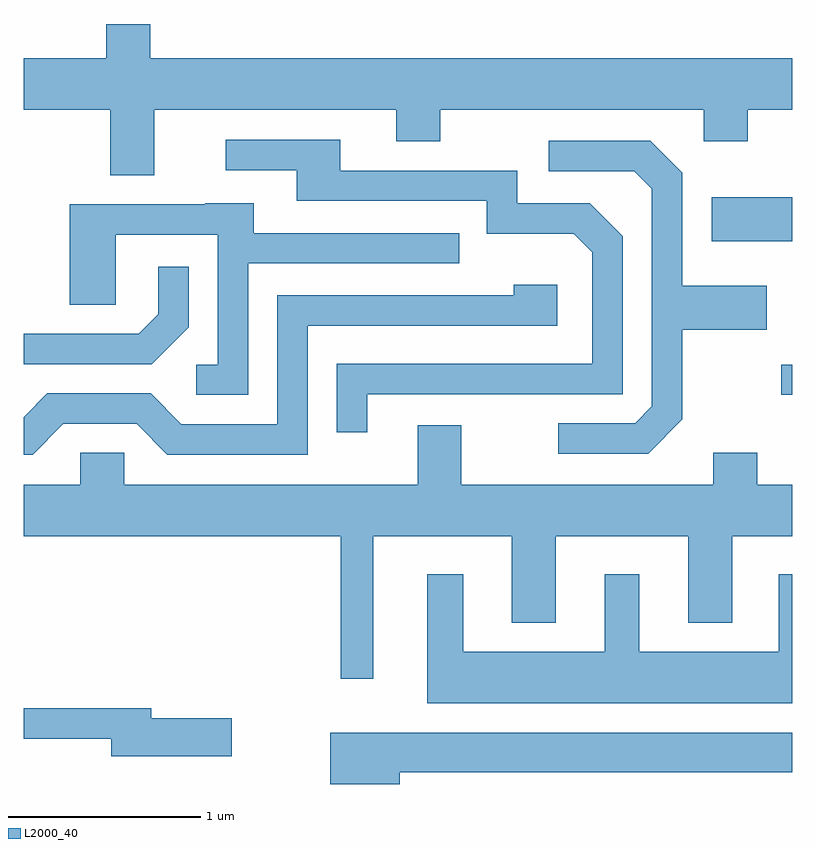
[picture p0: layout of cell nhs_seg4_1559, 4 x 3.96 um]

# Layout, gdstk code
import gdstk
lib = gdstk.Library(unit=1e-6, precision=1e-09)
def R(c, l, rs):  # rectangles x0, y0, x1, y1
    for r in rs: c.add(gdstk.rectangle(r[:2], r[2:], *l))
def P(c, l, *ps):  # polygons
    for p in ps: c.add(gdstk.Polygon(p, *l))
L2000_40 = (2000, 40)

nhs_seg4_1559 = lib.new_cell('nhs_seg4_1559')
R(nhs_seg4_1559, L2000_40, [(233.553,1382.051,233.611,1382.209), (233.191,1382.851,233.611,1383.079)])
P(nhs_seg4_1559, L2000_40, [(230.289,1383.536),(231.551,1383.536),(231.551,1383.371),(231.779,1383.371),(231.779,1383.536),(233.151,1383.536),(233.151,1383.371),(233.379,1383.371),(233.379,1383.536),(233.611,1383.536),(233.611,1383.804),(230.269,1383.804),(230.269,1383.982),(230.041,1383.982),(230.041,1383.804),(229.611,1383.804),(229.611,1383.536),(230.061,1383.536),(230.061,1383.196),(230.289,1383.196)],
  [(231.399,1382.056),(232.729,1382.056),(232.729,1382.877),(232.557,1383.049),(232.179,1383.049),(232.179,1383.219),(231.259,1383.219),(231.259,1383.379),(230.663,1383.379),(230.663,1383.221),(231.031,1383.221),(231.031,1383.061),(232.021,1383.061),(232.021,1382.891),(232.474,1382.891),(232.571,1382.794),(232.571,1382.214),(231.241,1382.214),(231.241,1381.858),(231.399,1381.858)],
  [(233.039,1381.924),(233.039,1382.391),(233.479,1382.391),(233.479,1382.619),(233.039,1382.619),(233.039,1383.207),(232.872,1383.374),(232.343,1383.374),(232.343,1383.216),(232.789,1383.216),(232.881,1383.124),(232.881,1381.992),(232.794,1381.904),(232.393,1381.904),(232.393,1381.746),(232.862,1381.746)],
  [(230.779,1382.736),(231.878,1382.736),(231.878,1382.894),(230.809,1382.894),(230.809,1383.049),(230.555,1383.049),(230.555,1383.044),(229.851,1383.044),(229.851,1382.521),(230.089,1382.521),(230.089,1382.886),(230.621,1382.886),(230.621,1382.209),(230.508,1382.209),(230.508,1382.051),(230.779,1382.051)],
  [(230.469,1382.404),(230.469,1382.718),(230.311,1382.718),(230.311,1382.472),(230.209,1382.369),(229.611,1382.369),(229.611,1382.211),(230.277,1382.211)],
  [(229.817,1381.901),(230.199,1381.901),(230.359,1381.741),(231.089,1381.741),(231.089,1382.411),(232.389,1382.411),(232.389,1382.624),(232.161,1382.624),(232.161,1382.569),(230.931,1382.569),(230.931,1381.899),(230.432,1381.899),(230.272,1382.059),(229.734,1382.059),(229.611,1381.936),(229.611,1381.741),(229.657,1381.741)],
  [(231.429,1381.316),(232.151,1381.316),(232.151,1380.866),(232.379,1380.866),(232.379,1381.316),(233.071,1381.316),(233.071,1380.866),(233.299,1380.866),(233.299,1381.316),(233.611,1381.316),(233.611,1381.584),(233.429,1381.584),(233.429,1381.749),(233.201,1381.749),(233.201,1381.584),(231.889,1381.584),(231.889,1381.894),(231.661,1381.894),(231.661,1381.584),(230.134,1381.584),(230.134,1381.749),(229.906,1381.749),(229.906,1381.584),(229.611,1381.584),(229.611,1381.316),(231.261,1381.316),(231.261,1380.573),(231.429,1380.573)],
  [(233.611,1381.119),(233.541,1381.119),(233.541,1380.714),(232.814,1380.714),(232.814,1381.119),(232.636,1381.119),(232.636,1380.714),(231.899,1380.714),(231.899,1381.119),(231.711,1381.119),(231.711,1380.446),(233.611,1380.446)],
  [(230.694,1380.369),(230.274,1380.369),(230.274,1380.419),(229.611,1380.419),(229.611,1380.261),(230.066,1380.261),(230.066,1380.171),(230.694,1380.171)],
  [(231.569,1380.086),(233.611,1380.086),(233.611,1380.294),(231.206,1380.294),(231.206,1380.026),(231.569,1380.026)])

lib.write_gds('nhs_seg4_1559.gds')
